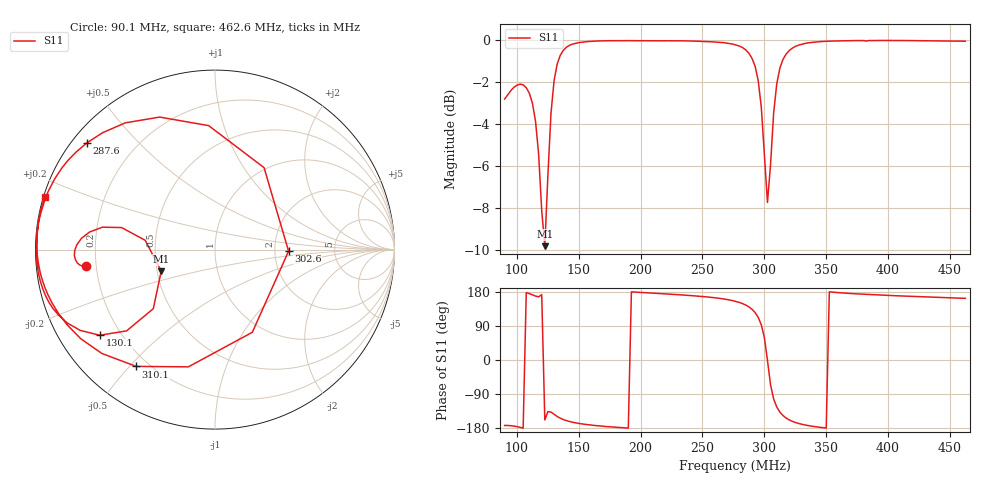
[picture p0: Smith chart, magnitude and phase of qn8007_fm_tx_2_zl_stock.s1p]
# MHz S MA R 50
!  freq  S11
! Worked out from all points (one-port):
!   150 points, 90.1 MHz to 462.6 MHz, reference 50 ohm
!   lowest |S11| = -9.8 dB at 122.6 MHz (marker M1), VSWR 1.95, Z = 26.3 - j7.05 ohm
!   |S11| at or under -10 dB: nowhere
!   S11 on the Smith chart (normalised r, x): 90.1 MHz: 0.16, -0.06; 130.1 MHz: 0.12, -0.33; 287.6 MHz: 0.04, +0.36; 302.6 MHz: 2.39, -0.05; 310.1 MHz: 0.15, -0.52; 462.6 MHz: 0.00, +0.15
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90.1  0.7226 -172.8
102.6  0.7843 -177.7
110.1  0.7462 175.1
117.6  0.5348 166.7
120.1  0.3922 172.4
122.6  0.3228 -158.2
125.1  0.476 -136.2
127.6  0.6691 -137.4
130.1  0.7999 -143.4
137.6  0.9443 -157.2
155.1  0.9891 -169.8
185.1  0.995 -178.6
230.1  0.9949 172.4
277.6  0.971 154.1
287.6  0.9286 140.1
292.6  0.865 125.3
297.6  0.6917 92.9
300.1  0.5322 59.1
302.6  0.4101 -1.2
305.1  0.5054 -65.7
307.6  0.6699 -102.8
310.1  0.7851 -124.0
315.1  0.8976 -146.4
325.1  0.9642 -164.9
342.6  0.9882 -176.6
370.1  0.9954 175.4
417.6  0.9958 168.1
462.6  0.9922 162.7
